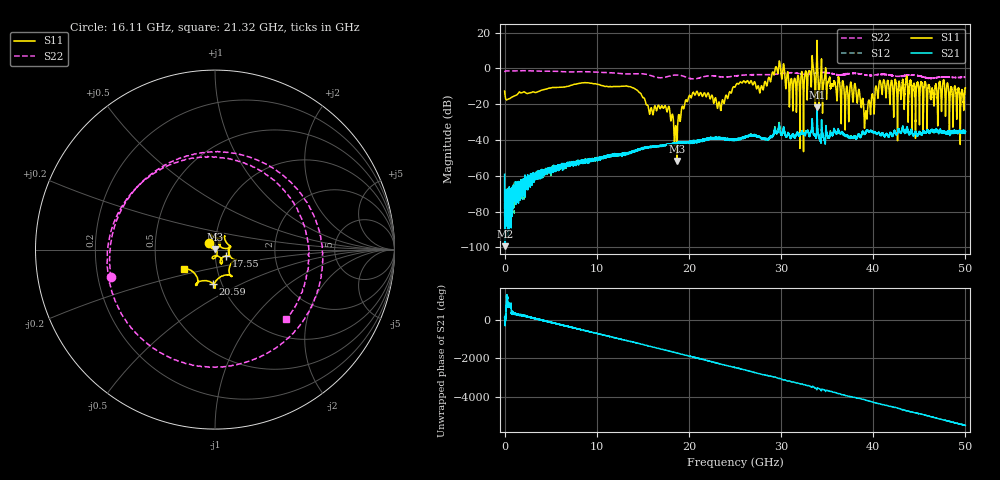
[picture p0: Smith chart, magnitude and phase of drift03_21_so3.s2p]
!Created with skrf (http://scikit-rf.org).
# Hz S RI R 50.0
!freq ReS11 ImS11 ReS21 ImS21 ReS12 ImS12 ReS22 ImS22
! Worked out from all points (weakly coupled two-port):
!   10001 points, 300 kHz to 50 GHz, reference 50 ohm
!   highest |S21| = -21.78 dB at 33.9 GHz (marker M1); lowest = -99.3 dB at 70.3 MHz (marker M2)
!   lowest |S11| = -51.8 dB at 18.69 GHz (marker M3), VSWR 1.01, Z = 49.9 + j0.217 ohm
!   |S11| at or under -10 dB: start of sweep to 6.949 GHz; 13.32 GHz to 25.05 GHz (11.72 GHz wide, 61.1 % of centre); 38.07 GHz to 40.27 GHz (2.194 GHz wide, 5.6 % of centre) (the widest 3 of 60)
!   |S22| runs from -5.9 to -1.3 dB; largest |S21 - S12| = 0.0071
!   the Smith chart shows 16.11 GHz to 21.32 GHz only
!   S11 on the Smith chart (normalised r, x): 16.11 GHz: 0.93, +0.07; 17.55 GHz: 1.13, -0.08; 20.59 GHz: 0.91, -0.36; 21.32 GHz: 0.69, -0.16
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300000  -0.211 -0.0964  -0.000671 0.00087  0.000432 -0.000221  -0.7617 -0.1875
7.029958e7  -0.148 0.0616  1.05e-05 -2.55e-06  -1.82e-05 6.29e-05  -0.8308 0.0937
1.530291e9  0.2034 0.0456  -4.15e-06 -0.000467  -0.000146 -0.000329  0.8484 0.085
3.160281e9  -0.2186 -0.00826  -5.88e-05 0.000957  0.000203 0.000791  -0.8444 -0.0247
4.665272e9  0.2636 0.0611  -6.16e-05 -0.00144  0.000136 -0.00135  0.8181 0.1417
6.360262e9  -0.3 0.000741  0.000666 0.00165  0.000455 0.00191  -0.8037 -0.0412
8.33525e9  0.2838 -0.2676  -0.00218 -0.000783  -0.00234 -0.000932  0.6008 -0.5358
1.043024e10  -0.0424 0.3324  0.00245 -0.00194  0.00235 -0.00172  -0.0369 0.7702
1.201523e10  0.00693 -0.3097  -0.00254 0.00278  -0.00268 0.00275  0.1049 -0.7293
1.61102e10  -0.0328 0.0392  0.00614 0.0022  0.0062 0.00219  -0.579 -0.154
1.66702e10  0.0537 0.0759  0.00445 -0.00482  0.00442 -0.00498  -0.3567 0.42
1.754519e10  0.0624 -0.0355  -0.00638 -0.00362  -0.00614 -0.00378  0.5069 0.2703
1.869019e10  -0.00138 0.00217  0.00236 0.00764  0.00239 0.00782  -0.0817 -0.6497
2.059018e10  -0.0111 -0.1891  -0.00792 -0.00444  -0.00782 -0.00398  0.3871 0.3288
2.131517e10  -0.1726 -0.1077  -0.0053 0.00755  -0.00512 0.0081  0.3981 -0.3849
2.500015e10  -0.2977 -0.0477  0.00805 0.00643  0.00735 0.00643  -0.1877 -0.5816
3.051512e10  0.2355 -0.1271  -0.00194 0.0124  -0.00197 0.0123  0.7413 -0.0703
3.213011e10  0.208 0.3662  -0.000276 -0.0149  -0.000158 -0.0151  -0.6931 0.0116
3.33351e10  0.4296 -1.017  -0.00411 0.024  -0.0053 0.0241  0.6147 0.3655
3.38951e10  -0.9695 -5.917  0.0811 0.00756  0.0782 0.00256  0.6732 -0.3277
4.167005e10  -0.2121 0.2849  -0.0115 -0.00439  -0.0115 -0.00518  -0.6525 -0.0521
5e10  -0.1527 -0.2384  0.00146 -0.0175  0.00153 -0.017  0.4639 -0.3193
